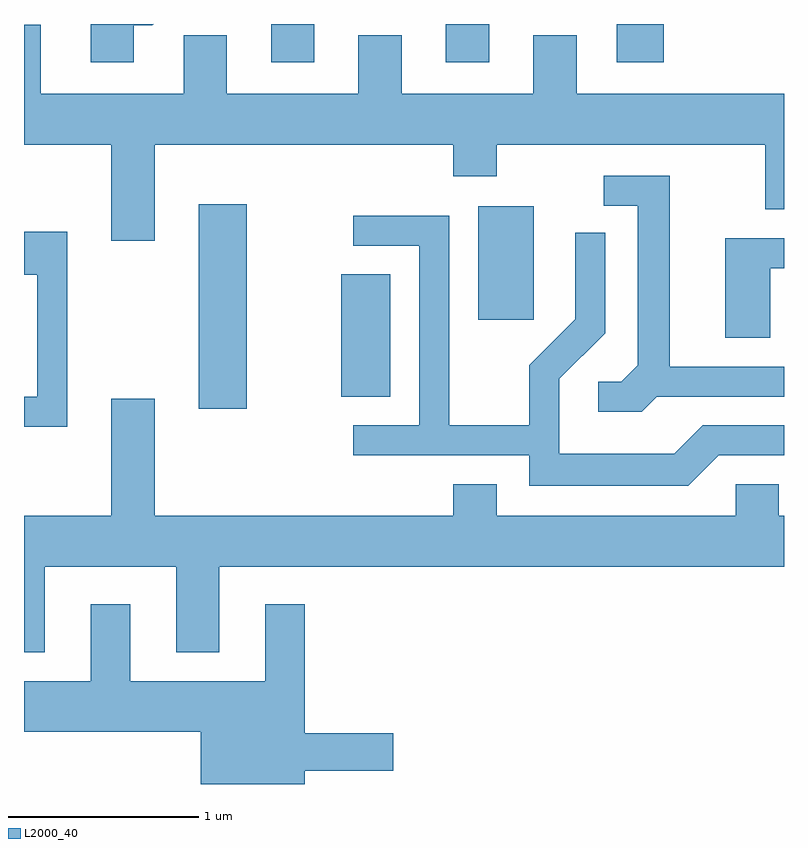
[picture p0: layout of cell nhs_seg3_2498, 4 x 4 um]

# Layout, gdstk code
import gdstk
lib = gdstk.Library(unit=1e-6, precision=1e-09)
def R(c, l, rs):  # rectangles x0, y0, x1, y1
    for r in rs: c.add(gdstk.rectangle(r[:2], r[2:], *l))
def P(c, l, *ps):  # polygons
    for p in ps: c.add(gdstk.Polygon(p, *l))
L2000_40 = (2000, 40)

nhs_seg3_2498 = lib.new_cell('nhs_seg3_2498')
R(nhs_seg3_2498, L2000_40, [(258.531,1217.866,258.784,1218.944), (259.281,1217.931,259.539,1218.574), (260.001,1218.336,260.294,1218.934), (258.911,1219.691,259.139,1219.892), (259.831,1219.691,260.059,1219.892), (260.731,1219.691,260.979,1219.892)])
P(nhs_seg3_2498, L2000_40, [(258.189,1219.886),(258.287,1219.886),(258.293,1219.892),(257.961,1219.892),(257.961,1219.691),(258.189,1219.691)],
  [(258.299,1219.256),(259.871,1219.256),(259.871,1219.091),(260.099,1219.091),(260.099,1219.256),(261.511,1219.256),(261.511,1218.916),(261.611,1218.916),(261.611,1219.524),(260.519,1219.524),(260.519,1219.834),(260.291,1219.834),(260.291,1219.524),(259.599,1219.524),(259.599,1219.834),(259.371,1219.834),(259.371,1219.524),(258.679,1219.524),(258.679,1219.834),(258.451,1219.834),(258.451,1219.524),(257.699,1219.524),(257.699,1219.888),(257.611,1219.888),(257.611,1219.256),(258.071,1219.256),(258.071,1218.751),(258.299,1218.751)],
  [(260.942,1217.931),(261.611,1217.931),(261.611,1218.089),(261.009,1218.089),(261.009,1219.094),(260.663,1219.094),(260.663,1218.936),(260.841,1218.936),(260.841,1218.097),(260.754,1218.009),(260.633,1218.009),(260.633,1217.851),(260.861,1217.851)],
  [(261.267,1217.621),(261.611,1217.621),(261.611,1217.779),(261.183,1217.779),(261.034,1217.629),(260.429,1217.629),(260.429,1218.024),(260.669,1218.264),(260.669,1218.793),(260.511,1218.793),(260.511,1218.337),(260.271,1218.097),(260.271,1217.779),(259.849,1217.779),(259.849,1218.884),(259.343,1218.884),(259.343,1218.726),(259.691,1218.726),(259.691,1217.779),(259.343,1217.779),(259.343,1217.621),(260.271,1217.621),(260.271,1217.461),(261.106,1217.461)],
  [(257.839,1218.799),(257.611,1218.799),(257.611,1218.571),(257.681,1218.571),(257.681,1217.929),(257.611,1217.929),(257.611,1217.771),(257.839,1217.771)],
  [(261.539,1218.606),(261.611,1218.606),(261.611,1218.764),(261.301,1218.764),(261.301,1218.241),(261.539,1218.241)],
  [(257.719,1217.036),(258.411,1217.036),(258.411,1216.586),(258.639,1216.586),(258.639,1217.036),(261.611,1217.036),(261.611,1217.304),(261.584,1217.304),(261.584,1217.469),(261.356,1217.469),(261.356,1217.304),(260.099,1217.304),(260.099,1217.469),(259.871,1217.469),(259.871,1217.304),(258.299,1217.304),(258.299,1217.919),(258.071,1217.919),(258.071,1217.304),(257.611,1217.304),(257.611,1216.586),(257.719,1216.586)],
  [(259.089,1215.961),(259.554,1215.961),(259.554,1216.159),(259.089,1216.159),(259.089,1216.839),(258.881,1216.839),(258.881,1216.434),(258.169,1216.434),(258.169,1216.839),(257.961,1216.839),(257.961,1216.434),(257.611,1216.434),(257.611,1216.166),(258.541,1216.166),(258.541,1215.892),(259.089,1215.892)])

lib.write_gds('nhs_seg3_2498.gds')
